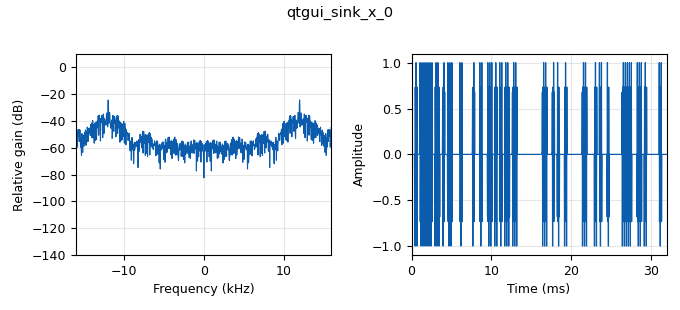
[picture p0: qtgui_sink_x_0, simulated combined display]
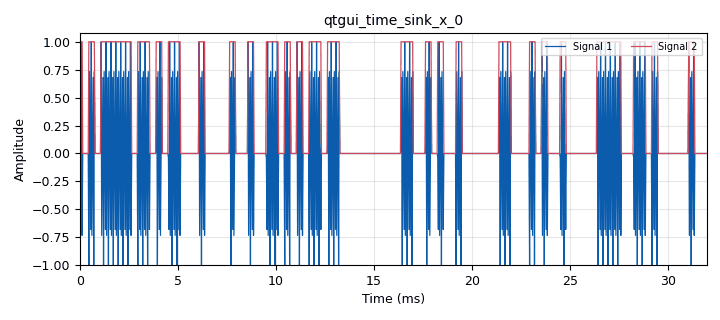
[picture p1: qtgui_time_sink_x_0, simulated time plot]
options:
  parameters:
    author: year2
    generate_options: qt_gui
    id: Sudarshan_1_lab_10
    output_language: python
    title: Not titled yet
  states: {}

blocks:
- name: samp_rate
  id: variable
  parameters:
    value: '32000'
  states: {}
- name: analog_random_source_x_1
  id: analog_random_source_x
  parameters:
    max: '2'
    min: '0'
    num_samps: '1000'
    repeat: 'True'
    type: byte
  states: {}
- name: analog_sig_source_x_0
  id: analog_sig_source_x
  parameters:
    amp: '1'
    freq: '20000'
    offset: '0'
    phase: '0'
    samp_rate: samp_rate
    type: float
    waveform: analog.GR_SIN_WAVE
  states: {}
- name: blocks_char_to_float_0
  id: blocks_char_to_float
  parameters:
    scale: '1'
  states: {}
- name: blocks_multiply_xx_0
  id: blocks_multiply_xx
  parameters:
    type: float
  states: {}
- name: blocks_repeat_0
  id: blocks_repeat
  parameters:
    interp: '10'
    type: byte
  states: {}
- name: note_0
  id: note
  parameters:
    note: ASK Signal Source
  states: {}
- name: qtgui_sink_x_0
  id: qtgui_sink_x
  parameters:
    bw: samp_rate
    fc: '0'
    fftsize: '1024'
    type: float
  states: {}
- name: qtgui_time_sink_x_0
  id: qtgui_time_sink_x
  parameters:
    nconnections: '2'
    size: '1024'
    srate: '32000'
    type: float
  states: {}

connections:
- [analog_random_source_x_1, '0', blocks_repeat_0, '0']
- [analog_sig_source_x_0, '0', blocks_multiply_xx_0, '0']
- [blocks_char_to_float_0, '0', blocks_multiply_xx_0, '1']
- [blocks_char_to_float_0, '0', qtgui_time_sink_x_0, '1']
- [blocks_multiply_xx_0, '0', qtgui_sink_x_0, '0']
- [blocks_multiply_xx_0, '0', qtgui_time_sink_x_0, '0']
- [blocks_repeat_0, '0', blocks_char_to_float_0, '0']

metadata:
  file_format: 1
  grc_version: 3.10.12.0
